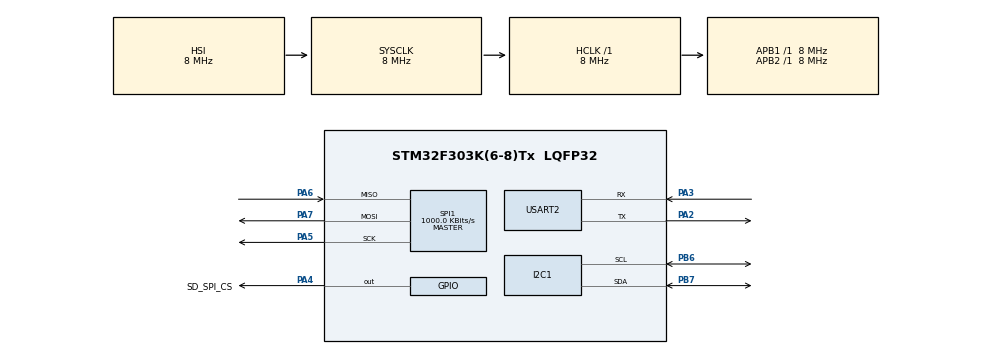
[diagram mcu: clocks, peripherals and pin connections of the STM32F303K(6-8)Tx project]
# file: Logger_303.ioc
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Mcu.Family=STM32F3
Mcu.Name=STM32F303K(6-8)Tx
Mcu.Package=LQFP32
NVIC.PriorityGroup=NVIC_PRIORITYGROUP_4
PA13.Mode=Serial_Wire
PA13.Signal=SYS_JTMS-SWDIO
PA14.Mode=Serial_Wire
PA14.Signal=SYS_JTCK-SWCLK
PA2.Mode=Asynchronous
PA2.Signal=USART2_TX
PA3.Mode=Asynchronous
PA3.Signal=USART2_RX
PA4.GPIO_Label=SD_SPI_CS
PA4.PinState=GPIO_PIN_RESET
PA4.Signal=GPIO_Output
PA5.Mode=Full_Duplex_Master
PA5.Signal=SPI1_SCK
PA6.Mode=Full_Duplex_Master
PA6.Signal=SPI1_MISO
PA7.Mode=Full_Duplex_Master
PA7.Signal=SPI1_MOSI
PB6.Mode=I2C
PB6.Signal=I2C1_SCL
PB7.Mode=I2C
PB7.Signal=I2C1_SDA
ProjectManager.HeapSize=0x200
ProjectManager.StackSize=0x400
ProjectManager.TargetToolchain=STM32CubeIDE
RCC.AHBFreq_Value=8000000
RCC.APB1Freq_Value=8000000
RCC.APB2Freq_Value=8000000
RCC.CortexFreq_Value=8000000
RCC.HSE_VALUE=8000000
RCC.HSI_VALUE=8000000
RCC.SYSCLKFreq_VALUE=8000000
SPI1.BaudRatePrescaler=SPI_BAUDRATEPRESCALER_8
SPI1.CalculateBaudRate=1000.0 KBits/s
SPI1.DataSize=SPI_DATASIZE_8BIT
SPI1.Direction=SPI_DIRECTION_2LINES
SPI1.Mode=SPI_MODE_MASTER
SPI1.NSSPMode=SPI_NSS_PULSE_DISABLE
SPI1.VirtualType=VM_MASTER
TIM7.Period=800
TIM7.Prescaler=9999
USART2.VirtualMode-Asynchronous=VM_ASYNC
VP_TIM7_VS_ClockSourceINT.Mode=Enable_Timer
board=custom

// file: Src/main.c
/* USER CODE BEGIN Header */
/**
  ******************************************************************************
  * @file           : main.c
  * @brief          : Main program body
  ******************************************************************************
  * @attention
  *
  * <h2><center>&copy; Copyright (c) 2019 STMicroelectronics.
  * All rights reserved.</center></h2>
  *
  * This software component is licensed by ST under BSD 3-Clause license,
  * the "License"; You may not use this file except in compliance with the
  * License. You may obtain a copy of the License at:
  *                        opensource.org/licenses/BSD-3-Clause
  *
  ******************************************************************************
  */
/* USER CODE END Header */

#include "main.h"

/* USER CODE BEGIN Includes */
#include "sd_hal_mpu6050.h"
#include "bmp280.h"
#include <string.h>
#include <stdarg.h>
#include "sdcard.h"
/* USER CODE END Includes */

I2C_HandleTypeDef hi2c1;

SPI_HandleTypeDef hspi1;

TIM_HandleTypeDef htim7;

UART_HandleTypeDef huart2;

/* USER CODE BEGIN PV */
SD_MPU6050 mpu1;

BMP280_HandleTypedef bmp280;
int32_t temperature;
uint32_t pressure, humidity;

volatile uint32_t milliscounter = 0;
/* USER CODE END PV */

void SystemClock_Config(void);
static void MX_GPIO_Init(void);
static void MX_I2C1_Init(void);
static void MX_SPI1_Init(void);
static void MX_USART2_UART_Init(void);
static void MX_TIM7_Init(void);

/* USER CODE BEGIN 0 */
void UART_Printf(const char* fmt, ...) {
    char buff[256];
    va_list args;
    va_start(args, fmt);
    vsnprintf(buff, sizeof(buff), fmt, args);
    HAL_UART_Transmit(&huart2, (uint8_t*)buff, strlen(buff), HAL_MAX_DELAY);
    va_end(args);
}

uint64_t readCounter()
{
	volatile uint32_t m_counter = 0;
	const uint32_t counter1 = m_counter;
	const uint32_t CNT1 = TIM7->CNT;
	const uint32_t counter2 = m_counter;
	const uint32_t CNT2 = TIM7->CNT;
	const uint32_t shiftedcounter1 = counter1 << 16;
	const uint32_t shiftedcounter2 = counter2 << 16;

	if (counter1 == counter2 ){	//割り込みが発生しない
		return ( shiftedcounter1 ) + CNT1;
	}else{	// counter1とcounter2の計測間に割り込みが発生した
		return ( shiftedcounter2 ) + CNT2;
	}
}

uint32_t millis(){
	return milliscounter;
}

void init() {
    int code;
    UART_Printf("Ready!\r\n");

    code = SDCARD_Init();
    if(code < 0) {
        UART_Printf("SDCARD_Init() failed: code = %d\r\n", code);
        return;
    }

    UART_Printf("SDCARD_Init() done!\r\n");

    uint32_t blocksNum;
    code = SDCARD_GetBlocksNumber(&blocksNum);
    if(code < 0) {
        UART_Printf("SDCARD_GetBlocksNumber() failed: code = %d\r\n", code);
        return;
    }

    UART_Printf("SDCARD_GetBlocksNumber() done! blocksNum = %u (or %u Mb)\r\n",
        blocksNum, blocksNum/2000 /* same as * 512 / 1000 / 1000 */);

    uint32_t startBlockAddr = 0x00ABCD;
    uint32_t blockAddr = startBlockAddr;
    uint8_t block[512];

    snprintf((char*)block, sizeof(block), "0x%08X", (int)blockAddr);

    code = SDCARD_WriteSingleBlock(blockAddr, block);
    if(code < 0) {
        UART_Printf("SDCARD_WriteSingleBlock() failed: code = %d\r\n", code);
        return;
    }
    UART_Printf("SDCARD_WriteSingleBlock(0x%08X, ...) done!\r\n", blockAddr);

    memset(block, 0, sizeof(block));

    code = SDCARD_ReadSingleBlock(blockAddr, block);
    if(code < 0) {
        UART_Printf("SDCARD_ReadSingleBlock() failed: code = %d\r\n", code);
        return;
    }

    UART_Printf("SDCARD_ReadSingleBlock(0x%08X, ...) done! block = \"%c%c%c%c%c%c%c%c%c%c...\"\r\n",
        blockAddr, block[0], block[1], block[2], block[3], block[4], block[5], block[6], block[7], block[8], block[9]);

    blockAddr = startBlockAddr + 1;
    code = SDCARD_WriteBegin(blockAddr);
    if(code < 0) {
        UART_Printf("SDCARD_WriteBegin() failed: code = %d\r\n", code);
        return;
    }
    UART_Printf("SDCARD_WriteBegin(0x%08X, ...) done!\r\n", blockAddr);

    for(int i = 0; i < 3; i++) {
        snprintf((char*)block, sizeof(block), "0x%08X", (int)blockAddr);

        code = SDCARD_WriteData(block);
        if(code < 0) {
            UART_Printf("SDCARD_WriteData() failed: code = %d\r\n", code);
            return;
        }

        UART_Printf("SDCARD_WriteData() done! blockAddr = %08X\r\n", blockAddr);
        blockAddr++;
    }

    code = SDCARD_WriteEnd();
    if(code < 0) {
        UART_Printf("SDCARD_WriteEnd() failed: code = %d\r\n", code);
        return;
    }
    UART_Printf("SDCARD_WriteEnd() done!\r\n");

    blockAddr = startBlockAddr + 1;
    code = SDCARD_ReadBegin(blockAddr);
    if(code < 0) {
        UART_Printf("SDCARD_ReadBegin() failed: code = %d\r\n", code);
        return;
    }
    UART_Printf("SDCARD_ReadBegin(0x%08X, ...) done!\r\n", blockAddr);

    for(int i = 0; i < 3; i++) {
        code = SDCARD_ReadData(block);
        if(code < 0) {
            UART_Printf("SDCARD_ReadData() failed: code = %d\r\n", code);
            return;
        }

        UART_Printf("SDCARD_ReadData() done! block = \"%c%c%c%c%c%c%c%c%c%c...\"\r\n",
            block[0], block[1], block[2], block[3], block[4], block[5], block[6], block[7], block[8], block[9]);
    }

    code = SDCARD_ReadEnd();
    if(code < 0) {
        UART_Printf("SDCARD_ReadEnd() failed: code = %d\r\n", code);
        return;
    }
    UART_Printf("SDCARD_ReadEnd() done!\r\n");
}
/* USER CODE END 0 */

int main(void)
{
  /* USER CODE BEGIN 1 */
	uint32_t starttime = millis();
	UART_Printf("start time: %u\r\n", starttime);

	SD_MPU6050_Result result ;
   	uint8_t mpu_ok[15] = {"MPU WORK FINE\n"};
	uint8_t mpu_not[17] = {"MPU NOT WORKING\n"};
  /* USER CODE END 1 */

  /* MCU Configuration--------------------------------------------------------*/

  /* Reset of all peripherals, Initializes the Flash interface and the Systick. */
  HAL_Init();

  /* Configure the system clock */
  SystemClock_Config();

  /* Initialize all configured peripherals */
  MX_GPIO_Init();
  MX_I2C1_Init();
  MX_SPI1_Init();
  MX_USART2_UART_Init();
  MX_TIM7_Init();

  SysTick_Config(SystemCoreClock / 1000);
  /* USER CODE BEGIN 2 */
  	bmp280_init_default_params(&bmp280.params);
	bmp280.addr = BMP280_I2C_ADDRESS_0;
	bmp280.i2c = &hi2c1;

	while (!bmp280_init(&bmp280, &bmp280.params)) {
		UART_Printf("BMP280: initialization failed. \r\n");
		HAL_Delay(2000);
	}
	bool bme280p = bmp280.id == BME280_CHIP_ID;
	if(bme280p){
		UART_Printf("BME280 detected... \r\n");
	}

  init();
  /* USER CODE END 2 */

  /* Infinite loop */
  /* USER CODE BEGIN WHILE */
  while (1)
  {
	  result = SD_MPU6050_Init(&hi2c1,&mpu1,SD_MPU6050_Device_0,SD_MPU6050_Accelerometer_2G,SD_MPU6050_Gyroscope_250s );
    /* USER CODE END WHILE */

    /* USER CODE BEGIN 3 */
	  /*
	  if(result == SD_MPU6050_Result_Ok)
	  {
		  HAL_UART_Transmit(&huart2, mpu_ok, sizeof(mpu_ok), 1000);
	  }
	  else
	  {
		  HAL_UART_Transmit(&huart2, mpu_not, sizeof(mpu_not), 1000);
	  }
	  */
	  SD_MPU6050_ReadTemperature(&hi2c1,&mpu1);
	  SD_MPU6050_ReadGyroscope(&hi2c1,&mpu1);
	  int16_t g_x = mpu1.Gyroscope_X;
	  int16_t g_y = mpu1.Gyroscope_Y;
	  int16_t g_z = mpu1.Gyroscope_Z;
	  // TODO uncomment
	  //UART_Printf("g_x: %d , g_y: %d, g_z: %d \r\n",g_x, g_y, g_z);

	  SD_MPU6050_ReadAccelerometer(&hi2c1,&mpu1);
	  int16_t a_x = mpu1.Accelerometer_X;
	  int16_t a_y = mpu1.Accelerometer_Y;
	  int16_t a_z = mpu1.Accelerometer_Z;
	  // TODO uncomment
	  //UART_Printf("a_x: %d , a_y: %d , a_z: %d \r\n",a_x, a_y, a_z);

	if (!bmp280_read_fixed(&bmp280, &temperature, &pressure, &humidity)) {
		UART_Printf("Temperature/pressure reading failed\r\n");
	}

	if (bme280p) {
		// TODO uncomment
		//UART_Printf("[Pressure]: %u, [Temperature]: %u, [Humidity]: %u \r\n", pressure, temperature, humidity);
	}

	// Test status
	UART_Printf("TS%u/", millis());
	UART_Printf("G%u/A%u/P%u/T%u/H%u\r\n",g_x , a_x, pressure, temperature, humidity);

  }
  /* USER CODE END 3 */
}

void SystemClock_Config(void)
{
  RCC_OscInitTypeDef RCC_OscInitStruct = {0};
  RCC_ClkInitTypeDef RCC_ClkInitStruct = {0};
  RCC_PeriphCLKInitTypeDef PeriphClkInit = {0};

  /** Initializes the CPU, AHB and APB busses clocks
  */
  RCC_OscInitStruct.OscillatorType = RCC_OSCILLATORTYPE_HSI;
  RCC_OscInitStruct.HSIState = RCC_HSI_ON;
  RCC_OscInitStruct.HSICalibrationValue = RCC_HSICALIBRATION_DEFAULT;
  RCC_OscInitStruct.PLL.PLLState = RCC_PLL_NONE;
  if (HAL_RCC_OscConfig(&RCC_OscInitStruct) != HAL_OK)
  {
    Error_Handler();
  }
  /** Initializes the CPU, AHB and APB busses clocks
  */
  RCC_ClkInitStruct.ClockType = RCC_CLOCKTYPE_HCLK|RCC_CLOCKTYPE_SYSCLK
                              |RCC_CLOCKTYPE_PCLK1|RCC_CLOCKTYPE_PCLK2;
  RCC_ClkInitStruct.SYSCLKSource = RCC_SYSCLKSOURCE_HSI;
  RCC_ClkInitStruct.AHBCLKDivider = RCC_SYSCLK_DIV1;
  RCC_ClkInitStruct.APB1CLKDivider = RCC_HCLK_DIV1;
  RCC_ClkInitStruct.APB2CLKDivider = RCC_HCLK_DIV1;

  if (HAL_RCC_ClockConfig(&RCC_ClkInitStruct, FLASH_LATENCY_0) != HAL_OK)
  {
    Error_Handler();
  }
  PeriphClkInit.PeriphClockSelection = RCC_PERIPHCLK_I2C1;
  PeriphClkInit.I2c1ClockSelection = RCC_I2C1CLKSOURCE_HSI;
  if (HAL_RCCEx_PeriphCLKConfig(&PeriphClkInit) != HAL_OK)
  {
    Error_Handler();
  }
}

static void MX_I2C1_Init(void)
{

  hi2c1.Instance = I2C1;
  hi2c1.Init.Timing = 0x2000090E;
  hi2c1.Init.OwnAddress1 = 0;
  hi2c1.Init.AddressingMode = I2C_ADDRESSINGMODE_7BIT;
  hi2c1.Init.DualAddressMode = I2C_DUALADDRESS_DISABLE;
  hi2c1.Init.OwnAddress2 = 0;
  hi2c1.Init.OwnAddress2Masks = I2C_OA2_NOMASK;
  hi2c1.Init.GeneralCallMode = I2C_GENERALCALL_DISABLE;
  hi2c1.Init.NoStretchMode = I2C_NOSTRETCH_DISABLE;
  if (HAL_I2C_Init(&hi2c1) != HAL_OK)
  {
    Error_Handler();
  }
  /** Configure Analogue filter
  */
  if (HAL_I2CEx_ConfigAnalogFilter(&hi2c1, I2C_ANALOGFILTER_ENABLE) != HAL_OK)
  {
    Error_Handler();
  }
  /** Configure Digital filter
  */
  if (HAL_I2CEx_ConfigDigitalFilter(&hi2c1, 0) != HAL_OK)
  {
    Error_Handler();
  }

}

static void MX_SPI1_Init(void)
{

  /* SPI1 parameter configuration*/
  hspi1.Instance = SPI1;
  hspi1.Init.Mode = SPI_MODE_MASTER;
  hspi1.Init.Direction = SPI_DIRECTION_2LINES;
  hspi1.Init.DataSize = SPI_DATASIZE_8BIT;
  hspi1.Init.CLKPolarity = SPI_POLARITY_LOW;
  hspi1.Init.CLKPhase = SPI_PHASE_1EDGE;
  hspi1.Init.NSS = SPI_NSS_SOFT;
  hspi1.Init.BaudRatePrescaler = SPI_BAUDRATEPRESCALER_8;
  hspi1.Init.FirstBit = SPI_FIRSTBIT_MSB;
  hspi1.Init.TIMode = SPI_TIMODE_DISABLE;
  hspi1.Init.CRCCalculation = SPI_CRCCALCULATION_DISABLE;
  hspi1.Init.CRCPolynomial = 7;
  hspi1.Init.CRCLength = SPI_CRC_LENGTH_DATASIZE;
  hspi1.Init.NSSPMode = SPI_NSS_PULSE_DISABLE;
  if (HAL_SPI_Init(&hspi1) != HAL_OK)
  {
    Error_Handler();
  }

}

static void MX_TIM7_Init(void)
{

  TIM_MasterConfigTypeDef sMasterConfig = {0};

  htim7.Instance = TIM7;
  htim7.Init.Prescaler = 9999;
  htim7.Init.CounterMode = TIM_COUNTERMODE_UP;
  htim7.Init.Period = 800;
  htim7.Init.AutoReloadPreload = TIM_AUTORELOAD_PRELOAD_DISABLE;
  if (HAL_TIM_Base_Init(&htim7) != HAL_OK)
  {
    Error_Handler();
  }
  sMasterConfig.MasterOutputTrigger = TIM_TRGO_RESET;
  sMasterConfig.MasterSlaveMode = TIM_MASTERSLAVEMODE_DISABLE;
  if (HAL_TIMEx_MasterConfigSynchronization(&htim7, &sMasterConfig) != HAL_OK)
  {
    Error_Handler();
  }

}

static void MX_USART2_UART_Init(void)
{

  huart2.Instance = USART2;
  huart2.Init.BaudRate = 38400;
  huart2.Init.WordLength = UART_WORDLENGTH_8B;
  huart2.Init.StopBits = UART_STOPBITS_1;
  huart2.Init.Parity = UART_PARITY_NONE;
  huart2.Init.Mode = UART_MODE_TX_RX;
  huart2.Init.HwFlowCtl = UART_HWCONTROL_NONE;
  huart2.Init.OverSampling = UART_OVERSAMPLING_16;
  huart2.Init.OneBitSampling = UART_ONE_BIT_SAMPLE_DISABLE;
  huart2.AdvancedInit.AdvFeatureInit = UART_ADVFEATURE_NO_INIT;
  if (HAL_UART_Init(&huart2) != HAL_OK)
  {
    Error_Handler();
  }

}

static void MX_GPIO_Init(void)
{
  GPIO_InitTypeDef GPIO_InitStruct = {0};

  /* GPIO Ports Clock Enable */
  __HAL_RCC_GPIOA_CLK_ENABLE();
  __HAL_RCC_GPIOB_CLK_ENABLE();

  /*Configure GPIO pin Output Level */
  HAL_GPIO_WritePin(SD_SPI_CS_GPIO_Port, SD_SPI_CS_Pin, GPIO_PIN_RESET);

  /*Configure GPIO pin : SD_SPI_CS_Pin */
  GPIO_InitStruct.Pin = SD_SPI_CS_Pin;
  GPIO_InitStruct.Mode = GPIO_MODE_OUTPUT_PP;
  GPIO_InitStruct.Pull = GPIO_NOPULL;
  GPIO_InitStruct.Speed = GPIO_SPEED_FREQ_LOW;
  HAL_GPIO_Init(SD_SPI_CS_GPIO_Port, &GPIO_InitStruct);

}

void Error_Handler(void)
{
}

/************************ (C) COPYRIGHT STMicroelectronics *****END OF FILE****/
